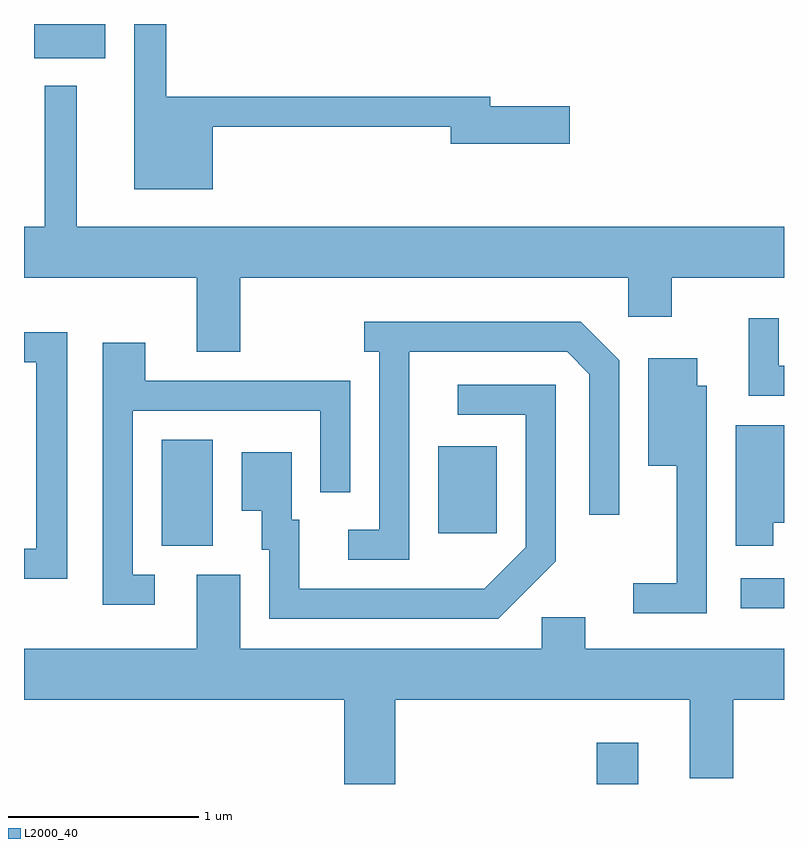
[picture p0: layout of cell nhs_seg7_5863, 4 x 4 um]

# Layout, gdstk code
import gdstk
lib = gdstk.Library(unit=1e-6, precision=1e-09)
def R(c, l, rs):  # rectangles x0, y0, x1, y1
    for r in rs: c.add(gdstk.rectangle(r[:2], r[2:], *l))
def P(c, l, *ps):  # polygons
    for p in ps: c.add(gdstk.Polygon(p, *l))
L2000_40 = (2000, 40)

nhs_seg7_5863 = lib.new_cell('nhs_seg7_5863')
R(nhs_seg7_5863, L2000_40, [(366.626,1778.252,366.844,1778.469), (367.383,1779.176,367.611,1779.334), (364.336,1779.506,364.604,1780.064), (365.791,1779.571,366.099,1780.029), (363.666,1782.071,364.039,1782.252)])
P(nhs_seg7_5863, L2000_40, [(364.604,1781.711),(365.856,1781.711),(365.856,1781.621),(366.484,1781.621),(366.484,1781.819),(366.064,1781.819),(366.064,1781.869),(364.359,1781.869),(364.359,1782.252),(364.191,1782.252),(364.191,1781.381),(364.604,1781.381)],
  [(363.889,1781.928),(363.721,1781.928),(363.721,1781.184),(363.611,1781.184),(363.611,1780.916),(364.521,1780.916),(364.521,1780.526),(364.749,1780.526),(364.749,1780.916),(366.791,1780.916),(366.791,1780.711),(367.019,1780.711),(367.019,1780.916),(367.611,1780.916),(367.611,1781.184),(363.889,1781.184)],
  [(367.611,1780.454),(367.584,1780.454),(367.584,1780.703),(367.426,1780.703),(367.426,1780.296),(367.611,1780.296)],
  [(365.639,1780.526),(366.469,1780.526),(366.586,1780.409),(366.586,1779.668),(366.744,1779.668),(366.744,1780.482),(366.542,1780.684),(365.403,1780.684),(365.403,1780.526),(365.481,1780.526),(365.481,1779.589),(365.318,1779.589),(365.318,1779.431),(365.639,1779.431)],
  [(363.839,1780.629),(363.611,1780.629),(363.611,1780.471),(363.676,1780.471),(363.676,1779.489),(363.611,1779.489),(363.611,1779.331),(363.839,1779.331)],
  [(364.298,1779.354),(364.184,1779.354),(364.184,1780.216),(365.171,1780.216),(365.171,1779.788),(365.329,1779.788),(365.329,1780.374),(364.249,1780.374),(364.249,1780.574),(364.026,1780.574),(364.026,1779.196),(364.298,1779.196)],
  [(367.204,1780.349),(367.154,1780.349),(367.154,1780.494),(366.896,1780.494),(366.896,1779.926),(367.046,1779.926),(367.046,1779.309),(366.818,1779.309),(366.818,1779.151),(367.204,1779.151)],
  [(366.409,1779.424),(366.409,1780.354),(365.893,1780.354),(365.893,1780.196),(366.251,1780.196),(366.251,1779.497),(366.034,1779.279),(365.059,1779.279),(365.059,1779.644),(365.019,1779.644),(365.019,1779.999),(364.756,1779.999),(364.756,1779.691),(364.861,1779.691),(364.861,1779.486),(364.901,1779.486),(364.901,1779.121),(366.107,1779.121)],
  [(367.554,1779.626),(367.611,1779.626),(367.611,1780.139),(367.356,1780.139),(367.356,1779.506),(367.554,1779.506)],
  [(365.564,1778.696),(367.116,1778.696),(367.116,1778.281),(367.344,1778.281),(367.344,1778.696),(367.611,1778.696),(367.611,1778.964),(366.564,1778.964),(366.564,1779.129),(366.336,1779.129),(366.336,1778.964),(364.749,1778.964),(364.749,1779.354),(364.521,1779.354),(364.521,1778.964),(363.611,1778.964),(363.611,1778.696),(365.296,1778.696),(365.296,1778.252),(365.564,1778.252)])

lib.write_gds('nhs_seg7_5863.gds')
